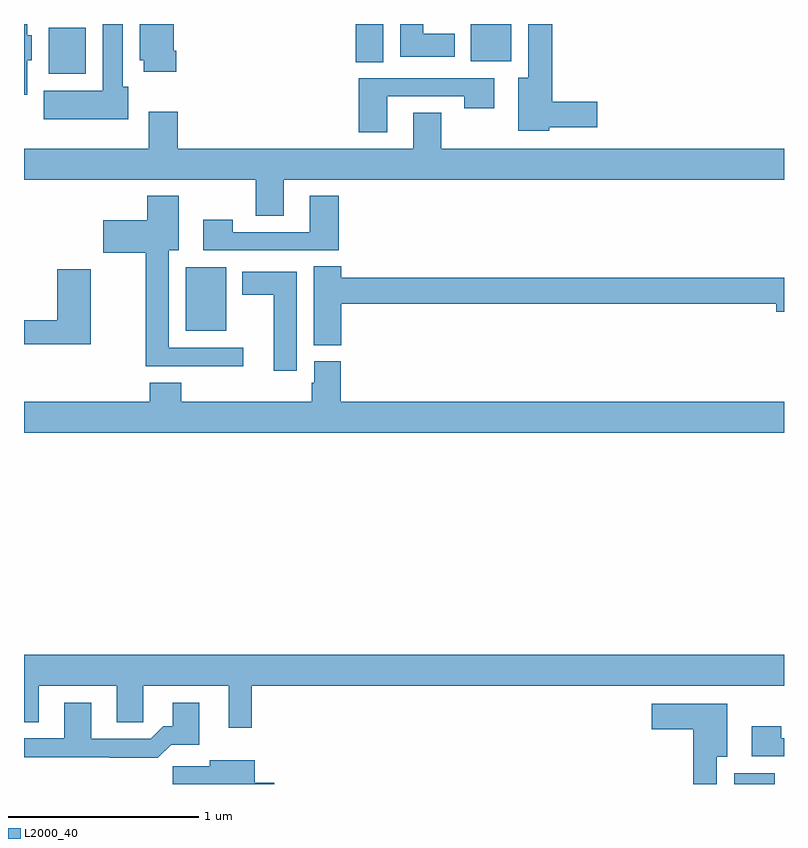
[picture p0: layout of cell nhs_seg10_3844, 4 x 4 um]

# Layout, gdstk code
import gdstk
lib = gdstk.Library(unit=1e-6, precision=1e-09)
def R(c, l, rs):  # rectangles x0, y0, x1, y1
    for r in rs: c.add(gdstk.rectangle(r[:2], r[2:], *l))
def P(c, l, *ps):  # polygons
    for p in ps: c.add(gdstk.Polygon(p, *l))
L2000_40 = (2000, 40)

nhs_seg10_3844 = lib.new_cell('nhs_seg10_3844')
R(nhs_seg10_3844, L2000_40, [(326.738,1266.5,326.95,1266.556), (323.852,1268.885,324.064,1269.22), (323.129,1270.238,323.326,1270.48), (324.746,1270.3,324.892,1270.5), (325.352,1270.304,325.564,1270.5)])
P(nhs_seg10_3844, L2000_40, [(323.548,1270.17),(323.521,1270.17),(323.521,1270.5),(323.414,1270.5),(323.414,1270.15),(323.105,1270.15),(323.105,1269.998),(323.548,1269.998)],
  [(325.267,1270.45),(325.102,1270.45),(325.102,1270.5),(324.98,1270.5),(324.98,1270.328),(325.267,1270.328)],
  [(325.764,1269.956),(326.017,1269.956),(326.017,1270.091),(325.781,1270.091),(325.781,1270.5),(325.655,1270.5),(325.655,1270.216),(325.601,1270.216),(325.601,1269.938),(325.764,1269.938)],
  [(323.017,1270.308),(323.041,1270.308),(323.041,1270.44),(323.017,1270.44),(323.017,1270.5),(323,1270.5),(323,1270.127),(323.017,1270.127)],
  [(323.801,1270.36),(323.788,1270.36),(323.788,1270.5),(323.609,1270.5),(323.609,1270.308),(323.63,1270.308),(323.63,1270.248),(323.801,1270.248)],
  [(324.913,1270.119),(325.318,1270.119),(325.318,1270.056),(325.474,1270.056),(325.474,1270.215),(324.761,1270.215),(324.761,1269.93),(324.913,1269.93)],
  [(324.367,1269.68),(327,1269.68),(327,1269.844),(325.197,1269.844),(325.197,1270.034),(325.049,1270.034),(325.049,1269.844),(323.81,1269.844),(323.81,1270.039),(323.657,1270.039),(323.657,1269.844),(323,1269.844),(323,1269.68),(324.22,1269.68),(324.22,1269.49),(324.367,1269.49)],
  [(324.154,1268.796),(323.761,1268.796),(323.761,1269.308),(323.815,1269.308),(323.815,1269.595),(323.648,1269.595),(323.648,1269.466),(323.418,1269.466),(323.418,1269.296),(323.641,1269.296),(323.641,1268.699),(324.154,1268.699)],
  [(324.656,1269.595),(324.503,1269.595),(324.503,1269.405),(324.099,1269.405),(324.099,1269.469),(323.943,1269.469),(323.943,1269.309),(324.656,1269.309)],
  [(324.671,1269.028),(326.96,1269.028),(326.96,1268.986),(327,1268.986),(327,1269.164),(324.671,1269.164),(324.671,1269.224),(324.524,1269.224),(324.524,1268.809),(324.671,1268.809)],
  [(323.352,1269.208),(323.174,1269.208),(323.174,1268.942),(323,1268.942),(323,1268.814),(323.352,1268.814)],
  [(324.436,1269.196),(324.149,1269.196),(324.149,1269.074),(324.314,1269.074),(324.314,1268.676),(324.436,1268.676)],
  [(327,1268.512),(324.668,1268.512),(324.668,1268.724),(324.527,1268.724),(324.527,1268.613),(324.515,1268.613),(324.515,1268.512),(323.828,1268.512),(323.828,1268.611),(323.663,1268.611),(323.663,1268.512),(323,1268.512),(323,1268.348),(327,1268.348)],
  [(324.199,1267.016),(327,1267.016),(327,1267.18),(323,1267.18),(323,1266.826),(323.077,1266.826),(323.077,1267.016),(323.489,1267.016),(323.489,1266.826),(323.628,1266.826),(323.628,1267.016),(324.077,1267.016),(324.077,1266.795),(324.199,1266.795)],
  [(323.774,1266.707),(323.923,1266.707),(323.923,1266.928),(323.783,1266.928),(323.783,1266.805),(323.734,1266.805),(323.667,1266.738),(323.353,1266.738),(323.353,1266.928),(323.213,1266.928),(323.213,1266.741),(323,1266.741),(323,1266.64),(323.449,1266.64),(323.449,1266.638),(323.705,1266.638)],
  [(326.647,1266.644),(326.701,1266.644),(326.701,1266.922),(326.304,1266.922),(326.304,1266.788),(326.522,1266.788),(326.522,1266.5),(326.647,1266.5)],
  [(327,1266.741),(326.985,1266.741),(326.985,1266.805),(326.829,1266.805),(326.829,1266.645),(327,1266.645)],
  [(324.318,1266.506),(324.214,1266.506),(324.214,1266.625),(323.978,1266.625),(323.978,1266.593),(323.784,1266.593),(323.784,1266.5),(324.318,1266.5)])

lib.write_gds('nhs_seg10_3844.gds')
